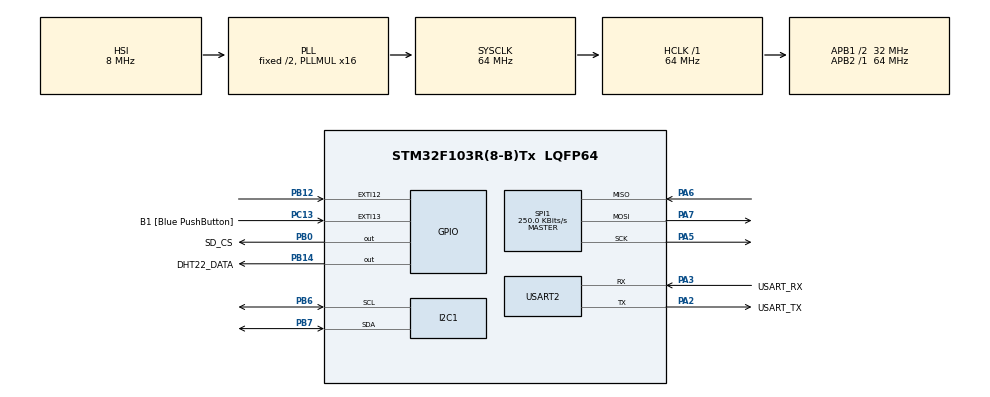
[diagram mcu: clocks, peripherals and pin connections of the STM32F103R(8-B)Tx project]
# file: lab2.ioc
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Dma.Request0=SPI1_RX
Dma.Request1=SPI1_TX
Dma.SPI1_RX.0.Direction=DMA_PERIPH_TO_MEMORY
Dma.SPI1_RX.0.Instance=DMA1_Channel2
Dma.SPI1_RX.0.MemDataAlignment=DMA_MDATAALIGN_BYTE
Dma.SPI1_RX.0.MemInc=DMA_MINC_ENABLE
Dma.SPI1_RX.0.Mode=DMA_NORMAL
Dma.SPI1_RX.0.PeriphDataAlignment=DMA_PDATAALIGN_BYTE
Dma.SPI1_RX.0.PeriphInc=DMA_PINC_DISABLE
Dma.SPI1_RX.0.Priority=DMA_PRIORITY_MEDIUM
Dma.SPI1_TX.1.Direction=DMA_MEMORY_TO_PERIPH
Dma.SPI1_TX.1.Instance=DMA1_Channel3
Dma.SPI1_TX.1.MemDataAlignment=DMA_MDATAALIGN_BYTE
Dma.SPI1_TX.1.MemInc=DMA_MINC_ENABLE
Dma.SPI1_TX.1.Mode=DMA_NORMAL
Dma.SPI1_TX.1.PeriphDataAlignment=DMA_PDATAALIGN_BYTE
Dma.SPI1_TX.1.PeriphInc=DMA_PINC_DISABLE
Dma.SPI1_TX.1.Priority=DMA_PRIORITY_MEDIUM
Mcu.Family=STM32F1
Mcu.Name=STM32F103R(8-B)Tx
Mcu.Package=LQFP64
NVIC.DMA1_Channel2_IRQn=true\:0\:0\:false\:false\:true\:false\:true\:true
NVIC.DMA1_Channel3_IRQn=true\:0\:0\:false\:false\:true\:false\:true\:true
NVIC.EXTI15_10_IRQn=true\:0\:0\:false\:false\:true\:true\:true\:true
NVIC.PriorityGroup=NVIC_PRIORITYGROUP_4
NVIC.SPI1_IRQn=true\:0\:0\:false\:false\:true\:true\:true\:true
NVIC.USART2_IRQn=true\:0\:0\:false\:false\:true\:true\:true\:true
PA13.GPIO_Label=TMS
PA13.Mode=Serial_Wire
PA13.Signal=SYS_JTMS-SWDIO
PA14.GPIO_Label=TCK
PA14.Mode=Serial_Wire
PA14.Signal=SYS_JTCK-SWCLK
PA2.GPIO_Label=USART_TX
PA2.GPIO_Mode=GPIO_MODE_AF_PP
PA2.GPIO_PuPd=GPIO_NOPULL
PA2.GPIO_Speed=GPIO_SPEED_FREQ_LOW
PA2.Mode=Asynchronous
PA2.Signal=USART2_TX
PA3.GPIO_Label=USART_RX
PA3.GPIO_Mode=GPIO_MODE_AF_PP
PA3.GPIO_PuPd=GPIO_NOPULL
PA3.GPIO_Speed=GPIO_SPEED_FREQ_LOW
PA3.Mode=Asynchronous
PA3.Signal=USART2_RX
PA5.Mode=Full_Duplex_Master
PA5.Signal=SPI1_SCK
PA6.Mode=Full_Duplex_Master
PA6.Signal=SPI1_MISO
PA7.Mode=Full_Duplex_Master
PA7.Signal=SPI1_MOSI
PB0.GPIO_Label=SD_CS
PB0.PinState=GPIO_PIN_SET
PB0.Signal=GPIO_Output
PB12.GPIO_ModeDefaultEXTI=GPIO_MODE_IT_FALLING
PB12.GPIO_PuPd=GPIO_PULLUP
PB12.Signal=GPXTI12
PB14.GPIO_Label=DHT22_DATA
PB14.GPIO_ModeDefaultOutputPP=GPIO_MODE_OUTPUT_OD
PB14.GPIO_PuPd=GPIO_NOPULL
PB14.Signal=GPIO_Output
PB3.GPIO_Label=SWO
PB3.Signal=SYS_JTDO-TRACESWO
PB6.Mode=I2C
PB6.Signal=I2C1_SCL
PB7.Mode=I2C
PB7.Signal=I2C1_SDA
PC13-TAMPER-RTC.GPIO_Label=B1 [Blue PushButton]
PC13-TAMPER-RTC.GPIO_ModeDefaultEXTI=GPIO_MODE_IT_FALLING
PC13-TAMPER-RTC.GPIO_PuPd=GPIO_NOPULL
PC13-TAMPER-RTC.Signal=GPXTI13
PC14-OSC32_IN.Signal=RCC_OSC32_IN
PC15-OSC32_OUT.Signal=RCC_OSC32_OUT
PD0-OSC_IN.Signal=RCC_OSC_IN
PD1-OSC_OUT.Signal=RCC_OSC_OUT
ProjectManager.HeapSize=0x200
ProjectManager.StackSize=0x400
ProjectManager.TargetToolchain=MDK-ARM V5.32
RCC.AHBFreq_Value=64000000
RCC.APB1CLKDivider=RCC_HCLK_DIV2
RCC.APB1Freq_Value=32000000
RCC.APB1TimFreq_Value=64000000
RCC.APB2Freq_Value=64000000
RCC.APB2TimFreq_Value=64000000
RCC.HCLKFreq_Value=64000000
RCC.PLLMUL=RCC_PLL_MUL16
RCC.SYSCLKFreq_VALUE=64000000
RCC.SYSCLKSource=RCC_SYSCLKSOURCE_PLLCLK
RCC.USBFreq_Value=64000000
SPI1.BaudRatePrescaler=SPI_BAUDRATEPRESCALER_256
SPI1.CalculateBaudRate=250.0 KBits/s
SPI1.Direction=SPI_DIRECTION_2LINES
SPI1.Mode=SPI_MODE_MASTER
SPI1.VirtualType=VM_MASTER
TIM2.Prescaler=63
USART2.VirtualMode=VM_ASYNC
VP_FATFS_VS_Generic.Mode=User_defined
VP_TIM2_VS_ClockSourceINT.Mode=Internal
board=NUCLEO-F103RB

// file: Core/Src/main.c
/* USER CODE BEGIN Header */
/**
  ******************************************************************************
  * @file           : main.c
  * @brief          : Main program body
  ******************************************************************************
  * @attention
  *
  * Copyright (c) 2026 STMicroelectronics.
  * All rights reserved.
  *
  * This software is licensed under terms that can be found in the LICENSE file
  * in the root directory of this software component.
  * If no LICENSE file comes with this software, it is provided AS-IS.
  *
  ******************************************************************************
  */
/* USER CODE END Header */
#include "main.h"
#include "fatfs.h"
#include "dht22.h"
#include "ds3231.h"
#include "Sd_spi.h"
#include <stdio.h>
#include <string.h>

I2C_HandleTypeDef hi2c1;

SPI_HandleTypeDef hspi1;
DMA_HandleTypeDef hdma_spi1_rx;
DMA_HandleTypeDef hdma_spi1_tx;

TIM_HandleTypeDef htim2;

UART_HandleTypeDef huart2;

/* USER CODE BEGIN PV */
volatile uint8_t rtc_tick = 0;
volatile uint8_t rtc_minute = 0;
extern volatile uint8_t sd_mounted;
static char msg[80];
static char csv_line[128];
static uint8_t dummy[512];
extern volatile uint8_t sd_use_dma;
/* USER CODE END PV */

void SystemClock_Config(void);
static void MX_GPIO_Init(void);
static void MX_DMA_Init(void);
static void MX_TIM2_Init(void);
static void MX_USART2_UART_Init(void);
static void MX_I2C1_Init(void);
static void MX_SPI1_Init(void);

/* USER CODE BEGIN 0 */
void Print(char *message)
{
    HAL_UART_Transmit(&huart2, (uint8_t *)message, strlen(message), HAL_MAX_DELAY);
}

int _write(int file, char *ptr, int len)
{
    HAL_UART_Transmit(&huart2, (uint8_t*)ptr, len, HAL_MAX_DELAY);
    return len;
}

static uint32_t sd_bench(uint8_t use_dma, uint8_t *buf, uint32_t n)
{
    uint32_t total_us = 0;
    sd_use_dma = use_dma;

    for (uint32_t i = 0; i < n; i++)
    {
        uint16_t t0 = __HAL_TIM_GET_COUNTER(&htim2);
        if (sd_read_block(buf, 0) != 0)
            return 0;
        total_us += (uint16_t)(__HAL_TIM_GET_COUNTER(&htim2) - t0);
    }
    return total_us / n;
}

static void sd_dma_test(void)
{
    static uint8_t buf_poll[512], buf_dma[512];
    char s[96];

    uint32_t us_poll = sd_bench(0, buf_poll, 20);
    uint32_t us_dma  = sd_bench(1, buf_dma, 20);
    sd_use_dma = 1;

    if (us_poll == 0 || us_dma == 0)
    {
        Print("[TEST] read error\r\n");
        return;
    }

    snprintf(s, sizeof(s), "[TEST] 512 B, no DMA: %lu us\r\n", (unsigned long)us_poll);
    Print(s);
    snprintf(s, sizeof(s), "[TEST] 512 B, DMA   : %lu us\r\n", (unsigned long)us_dma);
    Print(s);
    snprintf(s, sizeof(s), "[TEST] speedup x%lu.%lu, data %s\r\n",
             (unsigned long)(us_poll * 10 / us_dma / 10),
             (unsigned long)(us_poll * 10 / us_dma % 10),
             memcmp(buf_poll, buf_dma, 512) == 0 ? "identical" : "DIFFERENT");
    Print(s);
}

/* USER CODE END 0 */

int main(void)
{

  /* MCU Configuration--------------------------------------------------------*/

  /* Reset of all peripherals, Initializes the Flash interface and the Systick. */
  HAL_Init();

  /* Configure the system clock */
  SystemClock_Config();

  /* Initialize all configured peripherals */
  MX_GPIO_Init();
  MX_DMA_Init();
  MX_TIM2_Init();
  MX_USART2_UART_Init();
  MX_I2C1_Init();
  MX_SPI1_Init();
  /* USER CODE BEGIN 2 */
	HAL_TIM_Base_Start(&htim2);
	DHT22_Init();
	DS3231_Init();
	Print("System ready.\r\n");
	MX_FATFS_Init();
  if (sd_mount() != 0)
      Print("SD mount FAILED\r\n");
  else
      sd_dma_test();
	//DS3231_Time_t init_time = {10, 31, 20, 4, 22, 10, 2026};
	//DS3231_SetTime(&init_time);

	DHT22_Data_t dht_data;
	DS3231_Time_t rtc_time;
  /* USER CODE END 2 */

  /* Infinite loop */
while (1)
{

    /* USER CODE BEGIN 3 */
    if (rtc_tick >= 2)
    {
        rtc_tick = 0;
        rtc_minute++;
        int temp_whole = 0;
        int temp_dec   = 0;
        int hum_whole  = 0;
        int hum_dec    = 0;
        uint8_t data_valid = 0;

        DS3231_ReadTime(&rtc_time);

        if (DHT22_Read(&dht_data) && dht_data.checksum_ok)
        {
            temp_whole = (int)dht_data.temperature;
            temp_dec = (int)((dht_data.temperature - temp_whole) * 10);
            if (temp_dec < 0) temp_dec = -temp_dec;

            hum_whole = (int)dht_data.humidity;
            hum_dec = (int)((dht_data.humidity - hum_whole) * 10);

            snprintf(msg, sizeof(msg),
                     "%02d.%02d.%04d %02d:%02d:%02d | Temp: %d.%d C, Hum: %d.%d %%\r\n",
                     rtc_time.date, rtc_time.month, rtc_time.year,
                     rtc_time.hours, rtc_time.minutes, rtc_time.seconds,
                     temp_whole, temp_dec, hum_whole, hum_dec);

            data_valid = 1;
        }
        else
        {
            snprintf(msg, sizeof(msg),
                     "%02d.%02d.%04d %02d:%02d:%02d | DHT22 Error\r\n",
                     rtc_time.date, rtc_time.month, rtc_time.year,
                     rtc_time.hours, rtc_time.minutes, rtc_time.seconds);
        }

        Print(msg);

        /* ===== SD ===== */
        if (rtc_minute >= 30)
        {
            rtc_minute = 0;

            if (!sd_mounted)
            {
                Print("  [SD] no card\r\n");
            }
            else if (data_valid)
            {
                snprintf(csv_line, sizeof(csv_line),
                         "%02d.%02d.%04d;%02d:%02d:%02d;%d.%d;%d.%d\r\n",
                         rtc_time.date, rtc_time.month, rtc_time.year,
                         rtc_time.hours, rtc_time.minutes, rtc_time.seconds,
                         temp_whole, temp_dec, hum_whole, hum_dec);

                if (sd_append_file("log.csv", csv_line) == 0)
                    Print("  [SD] saved\r\n");
                else
                    Print("  [SD] write failed\r\n");
            }
            else
            {
                Print("  [SD] skipped (DHT22 error)\r\n");
            }
        }
    }

    /* ===== HOT-SWAP ===== */
		static uint32_t last_sd_check = 0;

		if ((uint32_t)(HAL_GetTick() - last_sd_check) >= 10000U)
		{
				last_sd_check = HAL_GetTick();

				if (sd_mounted)
				{
						if (sd_read_block(dummy, 0) != 0)
						{
								Print("[SD] card removed\r\n");
								sd_unmount();
						}
				}
				else
				{
						Print("[SD] trying to mount card...\r\n");

						if (sd_mount() == 0)
						{
								Print("[SD] card mounted successfully\r\n");
						}
						else
						{
								Print("[SD] mount failed, retrying...\r\n");
						}
				}
		}

    HAL_Delay(10);
  /* USER CODE END 3 */
}}

void SystemClock_Config(void)
{
  RCC_OscInitTypeDef RCC_OscInitStruct = {0};
  RCC_ClkInitTypeDef RCC_ClkInitStruct = {0};

  /** Initializes the RCC Oscillators according to the specified parameters
  * in the RCC_OscInitTypeDef structure.
  */
  RCC_OscInitStruct.OscillatorType = RCC_OSCILLATORTYPE_HSI;
  RCC_OscInitStruct.HSIState = RCC_HSI_ON;
  RCC_OscInitStruct.HSICalibrationValue = RCC_HSICALIBRATION_DEFAULT;
  RCC_OscInitStruct.PLL.PLLState = RCC_PLL_ON;
  RCC_OscInitStruct.PLL.PLLSource = RCC_PLLSOURCE_HSI_DIV2;
  RCC_OscInitStruct.PLL.PLLMUL = RCC_PLL_MUL16;
  if (HAL_RCC_OscConfig(&RCC_OscInitStruct) != HAL_OK)
  {
    Error_Handler();
  }

  /** Initializes the CPU, AHB and APB buses clocks
  */
  RCC_ClkInitStruct.ClockType = RCC_CLOCKTYPE_HCLK|RCC_CLOCKTYPE_SYSCLK
                              |RCC_CLOCKTYPE_PCLK1|RCC_CLOCKTYPE_PCLK2;
  RCC_ClkInitStruct.SYSCLKSource = RCC_SYSCLKSOURCE_PLLCLK;
  RCC_ClkInitStruct.AHBCLKDivider = RCC_SYSCLK_DIV1;
  RCC_ClkInitStruct.APB1CLKDivider = RCC_HCLK_DIV2;
  RCC_ClkInitStruct.APB2CLKDivider = RCC_HCLK_DIV1;

  if (HAL_RCC_ClockConfig(&RCC_ClkInitStruct, FLASH_LATENCY_2) != HAL_OK)
  {
    Error_Handler();
  }
}

static void MX_I2C1_Init(void)
{

  hi2c1.Instance = I2C1;
  hi2c1.Init.ClockSpeed = 100000;
  hi2c1.Init.DutyCycle = I2C_DUTYCYCLE_2;
  hi2c1.Init.OwnAddress1 = 0;
  hi2c1.Init.AddressingMode = I2C_ADDRESSINGMODE_7BIT;
  hi2c1.Init.DualAddressMode = I2C_DUALADDRESS_DISABLE;
  hi2c1.Init.OwnAddress2 = 0;
  hi2c1.Init.GeneralCallMode = I2C_GENERALCALL_DISABLE;
  hi2c1.Init.NoStretchMode = I2C_NOSTRETCH_DISABLE;
  if (HAL_I2C_Init(&hi2c1) != HAL_OK)
  {
    Error_Handler();
  }

}

static void MX_SPI1_Init(void)
{

  /* SPI1 parameter configuration*/
  hspi1.Instance = SPI1;
  hspi1.Init.Mode = SPI_MODE_MASTER;
  hspi1.Init.Direction = SPI_DIRECTION_2LINES;
  hspi1.Init.DataSize = SPI_DATASIZE_8BIT;
  hspi1.Init.CLKPolarity = SPI_POLARITY_LOW;
  hspi1.Init.CLKPhase = SPI_PHASE_1EDGE;
  hspi1.Init.NSS = SPI_NSS_SOFT;
  hspi1.Init.BaudRatePrescaler = SPI_BAUDRATEPRESCALER_256;
  hspi1.Init.FirstBit = SPI_FIRSTBIT_MSB;
  hspi1.Init.TIMode = SPI_TIMODE_DISABLE;
  hspi1.Init.CRCCalculation = SPI_CRCCALCULATION_DISABLE;
  hspi1.Init.CRCPolynomial = 10;
  if (HAL_SPI_Init(&hspi1) != HAL_OK)
  {
    Error_Handler();
  }

}

static void MX_TIM2_Init(void)
{

  TIM_ClockConfigTypeDef sClockSourceConfig = {0};
  TIM_MasterConfigTypeDef sMasterConfig = {0};

  htim2.Instance = TIM2;
  htim2.Init.Prescaler = 63;
  htim2.Init.CounterMode = TIM_COUNTERMODE_UP;
  htim2.Init.Period = 65535;
  htim2.Init.ClockDivision = TIM_CLOCKDIVISION_DIV1;
  htim2.Init.AutoReloadPreload = TIM_AUTORELOAD_PRELOAD_DISABLE;
  if (HAL_TIM_Base_Init(&htim2) != HAL_OK)
  {
    Error_Handler();
  }
  sClockSourceConfig.ClockSource = TIM_CLOCKSOURCE_INTERNAL;
  if (HAL_TIM_ConfigClockSource(&htim2, &sClockSourceConfig) != HAL_OK)
  {
    Error_Handler();
  }
  sMasterConfig.MasterOutputTrigger = TIM_TRGO_RESET;
  sMasterConfig.MasterSlaveMode = TIM_MASTERSLAVEMODE_DISABLE;
  if (HAL_TIMEx_MasterConfigSynchronization(&htim2, &sMasterConfig) != HAL_OK)
  {
    Error_Handler();
  }

}

static void MX_USART2_UART_Init(void)
{

  huart2.Instance = USART2;
  huart2.Init.BaudRate = 115200;
  huart2.Init.WordLength = UART_WORDLENGTH_8B;
  huart2.Init.StopBits = UART_STOPBITS_1;
  huart2.Init.Parity = UART_PARITY_NONE;
  huart2.Init.Mode = UART_MODE_TX_RX;
  huart2.Init.HwFlowCtl = UART_HWCONTROL_NONE;
  huart2.Init.OverSampling = UART_OVERSAMPLING_16;
  if (HAL_UART_Init(&huart2) != HAL_OK)
  {
    Error_Handler();
  }

}

static void MX_DMA_Init(void)
{

  /* DMA controller clock enable */
  __HAL_RCC_DMA1_CLK_ENABLE();

  /* DMA interrupt init */
  /* DMA1_Channel2_IRQn interrupt configuration */
  HAL_NVIC_SetPriority(DMA1_Channel2_IRQn, 1, 0);
  HAL_NVIC_EnableIRQ(DMA1_Channel2_IRQn);
  /* DMA1_Channel3_IRQn interrupt configuration */
  HAL_NVIC_SetPriority(DMA1_Channel3_IRQn, 1, 0);
  HAL_NVIC_EnableIRQ(DMA1_Channel3_IRQn);

}

static void MX_GPIO_Init(void)
{
  GPIO_InitTypeDef GPIO_InitStruct = {0};

  /* GPIO Ports Clock Enable */
  __HAL_RCC_GPIOC_CLK_ENABLE();
  __HAL_RCC_GPIOD_CLK_ENABLE();
  __HAL_RCC_GPIOA_CLK_ENABLE();
  __HAL_RCC_GPIOB_CLK_ENABLE();

  /*Configure GPIO pin Output Level */
  HAL_GPIO_WritePin(SD_CS_GPIO_Port, SD_CS_Pin, GPIO_PIN_SET);

  /*Configure GPIO pin Output Level */
  HAL_GPIO_WritePin(DHT22_DATA_GPIO_Port, DHT22_DATA_Pin, GPIO_PIN_RESET);

  /*Configure GPIO pin : B1_Pin */
  GPIO_InitStruct.Pin = B1_Pin;
  GPIO_InitStruct.Mode = GPIO_MODE_IT_FALLING;
  GPIO_InitStruct.Pull = GPIO_NOPULL;
  HAL_GPIO_Init(B1_GPIO_Port, &GPIO_InitStruct);

  /*Configure GPIO pin : SD_CS_Pin */
  GPIO_InitStruct.Pin = SD_CS_Pin;
  GPIO_InitStruct.Mode = GPIO_MODE_OUTPUT_PP;
  GPIO_InitStruct.Pull = GPIO_NOPULL;
  GPIO_InitStruct.Speed = GPIO_SPEED_FREQ_LOW;
  HAL_GPIO_Init(SD_CS_GPIO_Port, &GPIO_InitStruct);

  /*Configure GPIO pin : PB12 */
  GPIO_InitStruct.Pin = GPIO_PIN_12;
  GPIO_InitStruct.Mode = GPIO_MODE_IT_FALLING;
  GPIO_InitStruct.Pull = GPIO_PULLUP;
  HAL_GPIO_Init(GPIOB, &GPIO_InitStruct);

  /*Configure GPIO pin : DHT22_DATA_Pin */
  GPIO_InitStruct.Pin = DHT22_DATA_Pin;
  GPIO_InitStruct.Mode = GPIO_MODE_OUTPUT_OD;
  GPIO_InitStruct.Pull = GPIO_NOPULL;
  GPIO_InitStruct.Speed = GPIO_SPEED_FREQ_LOW;
  HAL_GPIO_Init(DHT22_DATA_GPIO_Port, &GPIO_InitStruct);

  /* EXTI interrupt init*/
  HAL_NVIC_SetPriority(EXTI15_10_IRQn, 5, 0);
  HAL_NVIC_EnableIRQ(EXTI15_10_IRQn);

}

/* USER CODE BEGIN 4 */

void HAL_GPIO_EXTI_Callback(uint16_t GPIO_Pin)
{
    if (GPIO_Pin == GPIO_PIN_12)
        rtc_tick++;
}

/* USER CODE END 4 */

void Error_Handler(void)
{
  __disable_irq();
  while (1)
  {
  }
}
